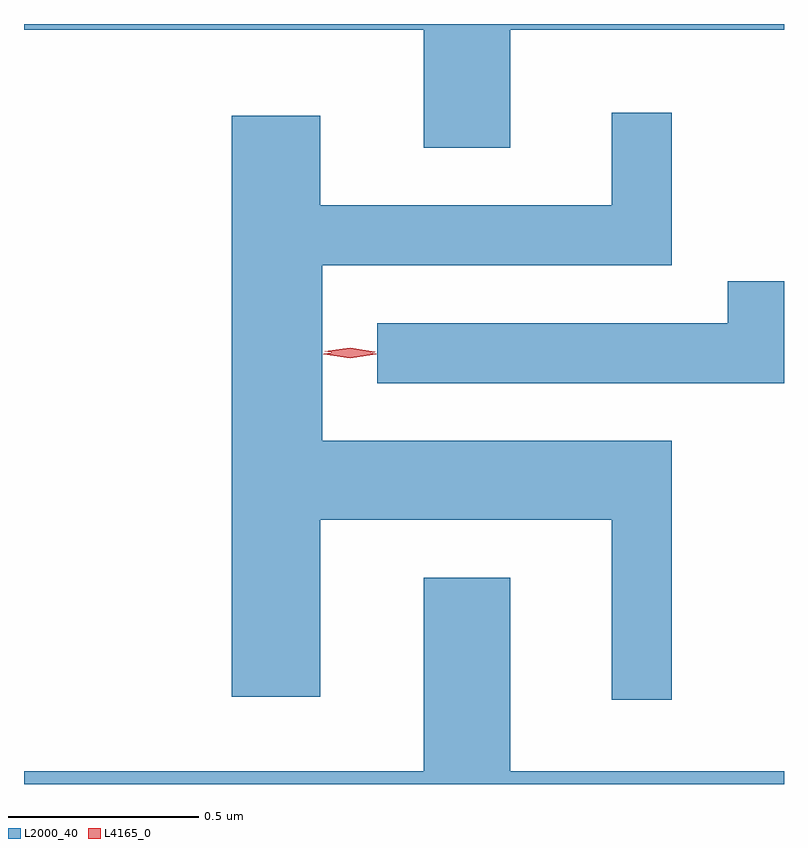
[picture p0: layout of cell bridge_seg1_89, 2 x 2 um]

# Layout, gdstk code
import gdstk
lib = gdstk.Library(unit=1e-6, precision=1e-09)
def P(c, l, *ps):  # polygons
    for p in ps: c.add(gdstk.Polygon(p, *l))
L2000_40 = (2000, 40)
L4165_0 = (4165, 0)

bridge_seg1_89 = lib.new_cell('bridge_seg1_89')
P(bridge_seg1_89, L2000_40, [(1176.919,921.776),(1177.639,921.776),(1177.639,921.791),(1175.639,921.791),(1175.639,921.776),(1176.691,921.776),(1176.691,921.466),(1176.919,921.466)],
  [(1177.344,920.694),(1176.424,920.694),(1176.424,921.156),(1177.344,921.156),(1177.344,921.558),(1177.186,921.558),(1177.186,921.314),(1176.419,921.314),(1176.419,921.549),(1176.186,921.549),(1176.186,920.021),(1176.419,920.021),(1176.419,920.486),(1177.186,920.486),(1177.186,920.013),(1177.344,920.013)],
  [(1177.639,921.114),(1177.491,921.114),(1177.491,921.004),(1176.568,921.004),(1176.568,920.846),(1177.639,920.846)],
  [(1177.639,919.824),(1176.919,919.824),(1176.919,920.334),(1176.691,920.334),(1176.691,919.824),(1175.639,919.824),(1175.639,919.791),(1177.639,919.791)])
P(bridge_seg1_89, L4165_0, [(1176.497,920.912),(1176.428,920.922),(1176.427,920.922),(1176.428,920.923),(1176.497,920.932),(1176.566,920.923),(1176.566,920.922),(1176.566,920.922)],
  [(1176.496,920.919),(1176.431,920.93),(1176.43,920.93),(1176.431,920.93),(1176.497,920.939),(1176.562,920.928),(1176.563,920.928),(1176.562,920.927)])

lib.write_gds('bridge_seg1_89.gds')
